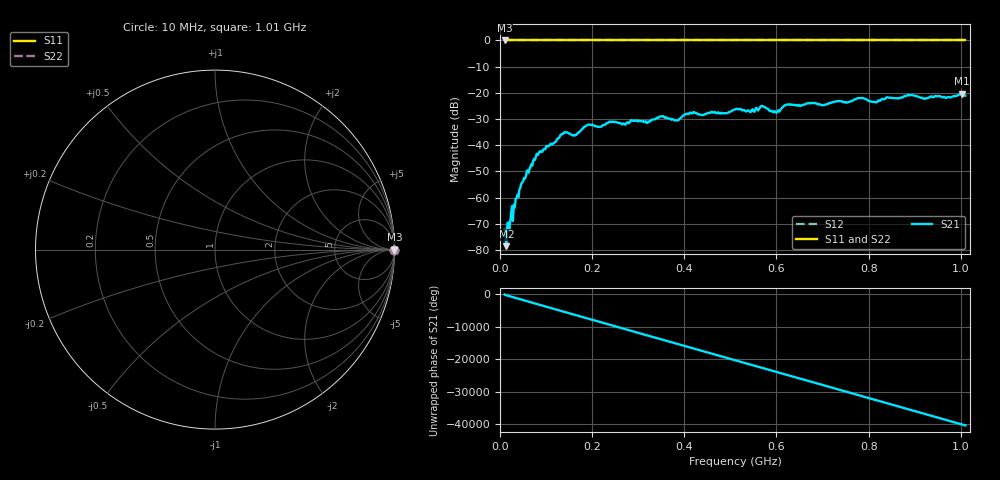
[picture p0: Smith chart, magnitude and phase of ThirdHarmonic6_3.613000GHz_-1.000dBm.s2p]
! 8/17/2025 12:04:35 PM
! C:\ANRITSUVNA\TEMP\TEMP.S2P
! CHANNEL.1
! TR.MEASUREMENT
! RAW.DATA
! RF.CORRECTION.OFF
! AVERAGING.OFF
! IF.BANDWIDTH: 5KHZ
! SWEEPTYPE:  FREQ.SWEEP(Linear)
! Reference Plane Port Info
! PORT:  PORT1  PORT2
! DISTANCE:  0  m  0  m
! TIME:  0  s  0  s
! PHASE.OFFSET:  0  deg.  0  deg.
! LOSS:  0  dB  0  dB
! REF.LOSS:  0  dB  0  dB
! REF.FREQ:  0  Hz  0  Hz
! Power Info
! POWER:  -20  dBm  -20  dBm
! EFF.POWER:  -20  dBm  -20  dBm
! SOURCE.ATTEN:  0  dB  0  dB
! TEST.ATTEN:  0  dB  0  dB
# GHZ S RI R 50.0
! FREQ.GHZ  S11RE  S11IM  S21RE  S21IM  S12RE  S12IM  S22RE  S22IM
!; PortSelection: Port_12
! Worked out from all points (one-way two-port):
!   501 points, 10 MHz to 1.01 GHz, reference 50 ohm
!   highest |S21| = -20.36 dB at 1.002 GHz (marker M1); lowest = -78.5 dB at 14 MHz (marker M2)
!   lowest |S11| = 0.0 dB at 10 MHz (marker M3)
!   |S11| at or under -10 dB: nowhere
!   |S22| runs from 0.0 to 0.0 dB; largest |S21 - S12| = 1.1
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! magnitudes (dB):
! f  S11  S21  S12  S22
! 10 MHz  0.0  -72.2  0.0  0.0
! 14 MHz  0.0  -78.5  0.0  0.0
! 48 MHz  0.0  -54.2  0.0  0.0
! 82 MHz  0.0  -43.7  0.0  0.0
! 136 MHz  0.0  -35.7  0.0  0.0
! 162 MHz  0.0  -36.3  0.0  0.0
! 178 MHz  0.0  -34.0  0.0  0.0
! 192 MHz  0.0  -32.1  0.0  0.0
! 344 MHz  0.0  -29.5  0.0  0.0
! 384 MHz  0.0  -30.5  0.0  0.0
! 416 MHz  0.0  -27.9  0.0  0.0
! 510 MHz  0.0  -26.3  0.0  0.0
! 548 MHz  0.0  -26.2  0.0  0.0
! 570 MHz  0.0  -25.0  0.0  0.0
! 596 MHz  0.0  -27.0  0.0  0.0
! 622 MHz  0.0  -24.5  0.0  0.0
! 678 MHz  0.0  -23.9  0.0  0.0
! 784 MHz  0.0  -22.0  0.0  0.0
! 814 MHz  0.0  -23.5  0.0  0.0
! 844 MHz  0.0  -21.9  0.0  0.0
! 1.002 GHz  0.0  -20.4  0.0  0.0
! 1.01 GHz  0.0  -21.1  0.0  0.0
